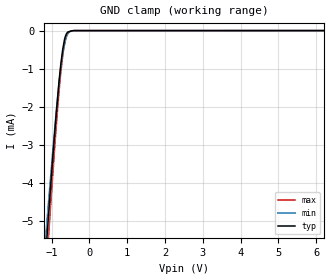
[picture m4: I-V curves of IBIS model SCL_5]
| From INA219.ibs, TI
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|   5V SCL Input Model
[Model] SCL_5
Model_type Input
| Signals  SCL
Vinl = 1.5
Vinh = 3.5
|   typ   min   max
C_comp   1.1266090e-12   1.2181950e-12   1.0025750e-12
[Voltage Range]   5   4.5   5.5
[Temperature Range]   27   85   -25
[Power Clamp Reference]   5   4.5   5.5
[GND Clamp Reference]   0   0   0
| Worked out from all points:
|   GND clamp passes 1 mA (typ) near -0.77 V on its own axis
[GND Clamp]
|   Voltage   I(typ)   I(min)   I(max)
-5V       -62.83mA   -55.74mA   -71.99mA
-1.149V   -5.796mA   -5.326mA   -6.432mA
-1.103V   -5.151mA   -4.758mA   -5.744mA
-1.087V   -4.935mA   -4.565mA   -5.508mA
-1.03V    -4.17mA    -3.891mA   -4.664mA
-893.3mV  -2.381mA   -2.31mA    -2.737mA
-764.8mV  -966.2uA   -1.042mA   -1.195mA
-673.2mV  -317.8uA   -428.5uA   -442.4uA
-624.3mV  -123.5uA   -220.7uA   -202.8uA
-570.1mV  -36.84uA   -85.98uA   -76.98uA
-404.8mV  -844.2nA   -802nA     -777.5nA
9.985V    0A         0A         0A
[POWER Clamp]
|   SCR cell for ESD function. Effects occurr above VDD x 2
|   Voltage   I(typ)   I(min)   I(max)
-5V       0A         0A         0A
0V        0A         0A         0A
10V       0A         0A         0A
